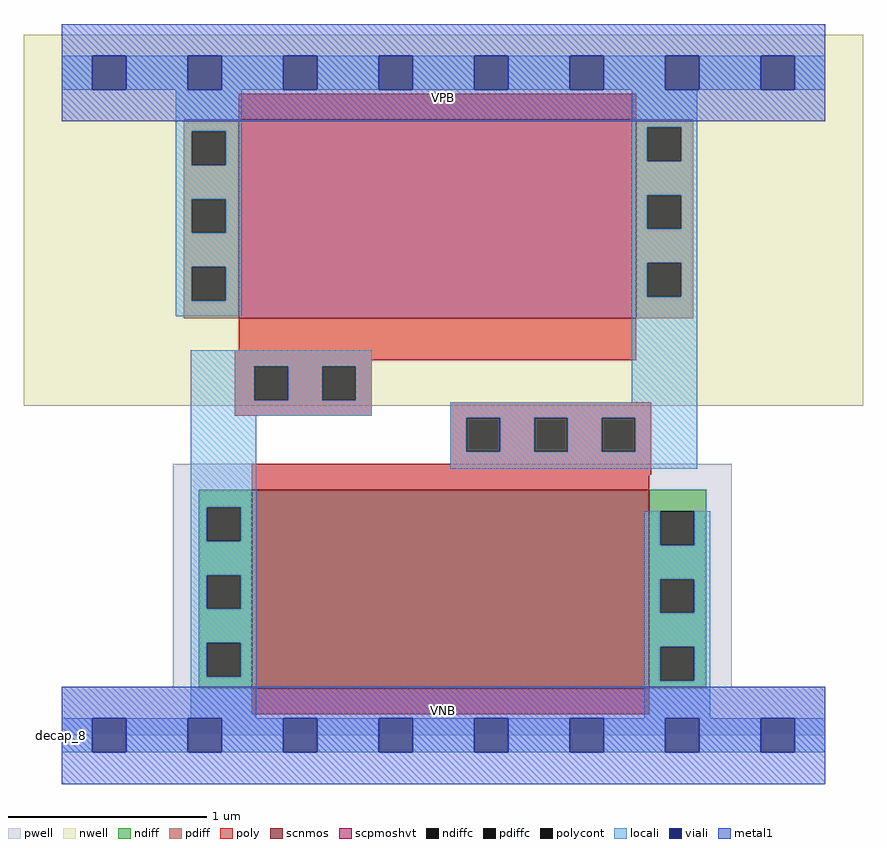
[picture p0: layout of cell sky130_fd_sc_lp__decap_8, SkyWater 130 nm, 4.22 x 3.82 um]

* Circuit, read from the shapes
.subckt sky130_fd_sc_lp__decap_8 VGND VNB VPB VPWR
XM1 VGND VPWR VGND VNB sky130_fd_pr__nfet_01v8 w=1 l=2
XM2 VPWR VGND VPWR VPB sky130_fd_pr__pfet_01v8_hvt w=1 l=2
.ends

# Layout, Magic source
magic
tech sky130A
magscale 1 2
<< nwell >>
rect -38 331 806 704
<< pwell >>
rect 112 49 674 273
rect 0 0 768 49
<< scnmos >>
rect 191 47 591 247
<< scpmoshvt >>
rect 178 419 578 619
<< ndiff >>
rect 138 229 191 247
rect 138 195 146 229
rect 180 195 191 229
rect 138 161 191 195
rect 138 127 146 161
rect 180 127 191 161
rect 138 93 191 127
rect 138 59 146 93
rect 180 59 191 93
rect 138 47 191 59
rect 591 225 648 247
rect 591 191 602 225
rect 636 191 648 225
rect 591 157 648 191
rect 591 123 602 157
rect 636 123 648 157
rect 591 89 648 123
rect 591 55 602 89
rect 636 55 648 89
rect 591 47 648 55
<< pdiff >>
rect 123 607 178 619
rect 123 573 131 607
rect 165 573 178 607
rect 123 539 178 573
rect 123 505 131 539
rect 165 505 178 539
rect 123 471 178 505
rect 123 437 131 471
rect 165 437 178 471
rect 123 419 178 437
rect 578 611 635 619
rect 578 577 589 611
rect 623 577 635 611
rect 578 543 635 577
rect 578 509 589 543
rect 623 509 635 543
rect 578 475 635 509
rect 578 441 589 475
rect 623 441 635 475
rect 578 419 635 441
<< ndiffc >>
rect 146 195 180 229
rect 146 127 180 161
rect 146 59 180 93
rect 602 191 636 225
rect 602 123 636 157
rect 602 55 636 89
<< pdiffc >>
rect 131 573 165 607
rect 131 505 165 539
rect 131 437 165 471
rect 589 577 623 611
rect 589 509 623 543
rect 589 441 623 475
<< poly >>
rect 178 619 578 645
rect 178 387 578 419
rect 174 377 578 387
rect 174 371 312 377
rect 174 337 194 371
rect 228 337 262 371
rect 296 337 312 371
rect 174 321 312 337
rect 391 319 593 335
rect 391 285 407 319
rect 441 285 475 319
rect 509 285 543 319
rect 577 285 593 319
rect 391 273 593 285
rect 191 262 593 273
rect 191 247 591 262
rect 191 21 591 47
<< polycont >>
rect 194 337 228 371
rect 262 337 296 371
rect 407 285 441 319
rect 475 285 509 319
rect 543 285 577 319
<< locali >>
rect 0 649 31 683
rect 65 649 127 683
rect 161 649 223 683
rect 257 649 319 683
rect 353 649 415 683
rect 449 649 511 683
rect 545 649 607 683
rect 641 649 703 683
rect 737 649 768 683
rect 115 607 181 649
rect 115 573 131 607
rect 165 573 181 607
rect 115 539 181 573
rect 115 505 131 539
rect 165 505 181 539
rect 115 471 181 505
rect 115 437 131 471
rect 165 437 181 471
rect 115 421 181 437
rect 573 611 639 649
rect 573 577 589 611
rect 623 577 639 611
rect 573 543 639 577
rect 573 509 589 543
rect 623 509 639 543
rect 573 475 639 509
rect 573 441 589 475
rect 623 441 639 475
rect 130 371 312 387
rect 130 337 194 371
rect 228 337 262 371
rect 296 337 312 371
rect 130 321 312 337
rect 573 335 639 441
rect 130 229 196 321
rect 391 319 639 335
rect 391 285 407 319
rect 441 285 475 319
rect 509 285 543 319
rect 577 285 639 319
rect 391 268 639 285
rect 130 195 146 229
rect 180 195 196 229
rect 130 161 196 195
rect 130 127 146 161
rect 180 127 196 161
rect 130 93 196 127
rect 130 59 146 93
rect 180 59 196 93
rect 130 17 196 59
rect 586 191 602 225
rect 636 191 652 225
rect 586 157 652 191
rect 586 123 602 157
rect 636 123 652 157
rect 586 89 652 123
rect 586 55 602 89
rect 636 55 652 89
rect 586 17 652 55
rect 0 -17 31 17
rect 65 -17 127 17
rect 161 -17 223 17
rect 257 -17 319 17
rect 353 -17 415 17
rect 449 -17 511 17
rect 545 -17 607 17
rect 641 -17 703 17
rect 737 -17 768 17
<< viali >>
rect 31 649 65 683
rect 127 649 161 683
rect 223 649 257 683
rect 319 649 353 683
rect 415 649 449 683
rect 511 649 545 683
rect 607 649 641 683
rect 703 649 737 683
rect 31 -17 65 17
rect 127 -17 161 17
rect 223 -17 257 17
rect 319 -17 353 17
rect 415 -17 449 17
rect 511 -17 545 17
rect 607 -17 641 17
rect 703 -17 737 17
<< metal1 >>
rect 0 683 768 715
rect 0 649 31 683
rect 65 649 127 683
rect 161 649 223 683
rect 257 649 319 683
rect 353 649 415 683
rect 449 649 511 683
rect 545 649 607 683
rect 641 649 703 683
rect 737 649 768 683
rect 0 617 768 649
rect 0 17 768 49
rect 0 -17 31 17
rect 65 -17 127 17
rect 161 -17 223 17
rect 257 -17 319 17
rect 353 -17 415 17
rect 449 -17 511 17
rect 545 -17 607 17
rect 641 -17 703 17
rect 737 -17 768 17
rect 0 -49 768 -17
<< labels >>
flabel pwell s 0 0 768 49 0 FreeSans 200 0 0 0 VNB
port 2 nsew ground bidirectional
flabel nwell s 0 617 768 666 0 FreeSans 200 0 0 0 VPB
port 3 nsew power bidirectional
rlabel comment s 0 0 0 0 4 decap_8
flabel metal1 s 0 0 768 49 0 FreeSans 340 0 0 0 VGND
port 1 nsew ground bidirectional
flabel metal1 s 0 617 768 666 0 FreeSans 340 0 0 0 VPWR
port 4 nsew power bidirectional
<< properties >>
string LEFsite unit
string LEFclass CORE SPACER
string FIXED_BBOX 0 0 768 666
string GDS_FILE $PDKPATH/libs.ref/sky130_fd_sc_lp/gds/sky130_fd_sc_lp.gds
string LEFsymmetry X Y R90
string GDS_END 5968434
string GDS_START 5964420
<< end >>
